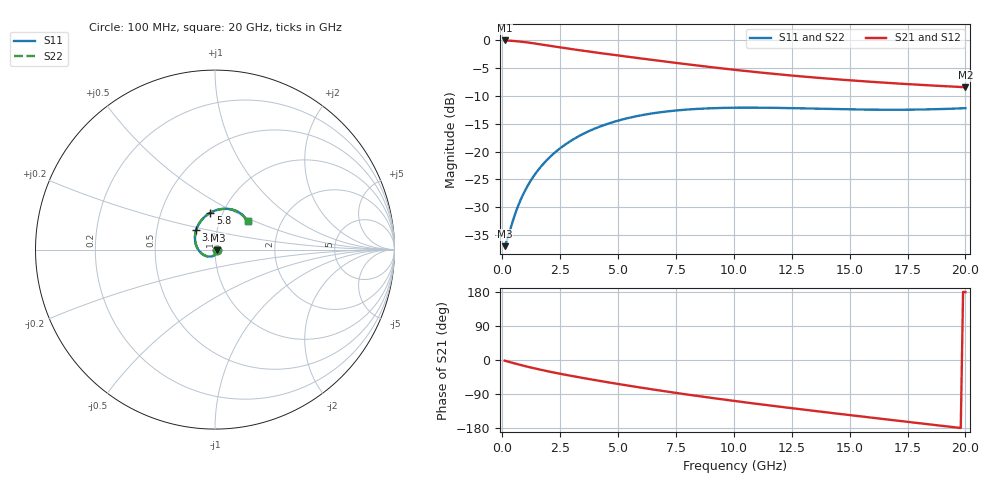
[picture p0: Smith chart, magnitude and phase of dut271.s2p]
! Touchstone file exported from HFSS 2024.1.0
!  File:  C:/UserFiles/LocalFiles/RDL_TSV_Batchsim/temp_RDL_TSV_271_1779461803.aedt
!  Generated:  11:11:23 PM May 22, 2026
!  Design:  RDL_TSV
!  Project:  temp_RDL_TSV_271_1779461803
!  Setup:  Setup1
!  Solution:  Sweep
! Variables:
!  dtsv = 12.25um
!  hbump = 3um
!  htsv = 87.95um
!  ldown = 183.76um
!  lrdl = 435.03um
!  p = 40
!  p1 = 46.11um
!  rhole = 10um
!  subl = 2291.4um
!  t = 450um
!  tdown = 2.27um
!  trdl = 3.65um
!  viad = 10um
!  wdown = 12.75um
!  wrdl = 26.77um
!  xbump = 18um
# GHz S MA R 50.000000
! Terminal data exported
! Port[1] = TM1_1_T1
! Port[2] = TM1_4_T1
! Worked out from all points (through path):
!   200 points, 100 MHz to 20 GHz, reference 50 ohm
!   highest |S21| = -0.12 dB at 100 MHz (marker M1); lowest = -8.5 dB at 20 GHz (marker M2)
!   group delay of S21, straight-line fit = 23.7 ps
!   lowest |S11| = -36.9 dB at 100 MHz (marker M3), VSWR 1.03, Z = 51.4 - j0.506 ohm
!   |S11| at or under -10 dB: start of sweep to end of sweep
!   |S22| runs from -36.9 to -12.2 dB; largest |S21 - S12| = 9.1e-15
!   S11 on the Smith chart (normalised r, x): 100 MHz: 1.03, -0.01; 3.7 GHz: 0.79, +0.17; 5.8 GHz: 0.87, +0.38; 20 GHz: 1.36, +0.47
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0.1  0.01422 -20.3  0.9858 -1.7  0.9858 -1.7  0.01422 -20.3
! Gamma 0 0 0 0
! Port Impedance 50 0 50 0
0.2  0.01609 -38.8  0.9841 -3.5  0.9841 -3.5  0.01609 -38.8
0.5  0.02558 -80.2  0.9752 -8.5  0.9752 -8.5  0.02558 -80.2
0.8  0.03726 -107.4  0.9619 -13.3  0.9619 -13.3  0.03726 -107.4
1.1  0.04957 -128.3  0.9452 -17.9  0.9452 -17.9  0.04957 -128.3
1.4  0.06207 -145.6  0.9263 -22.2  0.9263 -22.2  0.06206 -145.6
1.8  0.0787 -165.1  0.8998 -27.6  0.8998 -27.6  0.07868 -165.0
2.3  0.09906 174.8  0.8672 -33.9  0.8672 -33.9  0.09902 174.9
2.9  0.1224 155.1  0.8306 -41.0  0.8306 -41.0  0.1223 155.2
3.5  0.144 139.1  0.7972 -47.7  0.7972 -47.7  0.1439 139.1
3.7  0.1508 134.3  0.7866 -49.8  0.7866 -49.8  0.1507 134.4
4.7  0.1811 114.2  0.7375 -60.2  0.7375 -60.2  0.1809 114.2
5.8  0.2071 97.1  0.6884 -71.1  0.6884 -71.1  0.2068 97.1
6.8  0.2242 84.7  0.6475 -80.5  0.6475 -80.5  0.2239 84.8
8.4  0.2405 69.6  0.5891 -94.7  0.5891 -94.7  0.2401 69.6
10.1  0.2467 58.0  0.5366 -108.7  0.5366 -108.7  0.2462 58.1
11.7  0.246 50.5  0.496 -121.1  0.496 -121.1  0.2455 50.5
13.4  0.2422 45.3  0.4608 -133.8  0.4608 -133.8  0.2416 45.3
15  0.2384 42.5  0.4339 -145.4  0.4339 -145.4  0.2378 42.6
16.7  0.2364 41.3  0.4106 -157.5  0.4106 -157.5  0.2359 41.4
18.3  0.2381 41.2  0.3923 -168.8  0.3923 -168.8  0.2376 41.3
20  0.2441 41.5  0.3759 179.1  0.3759 179.1  0.2438 41.7
